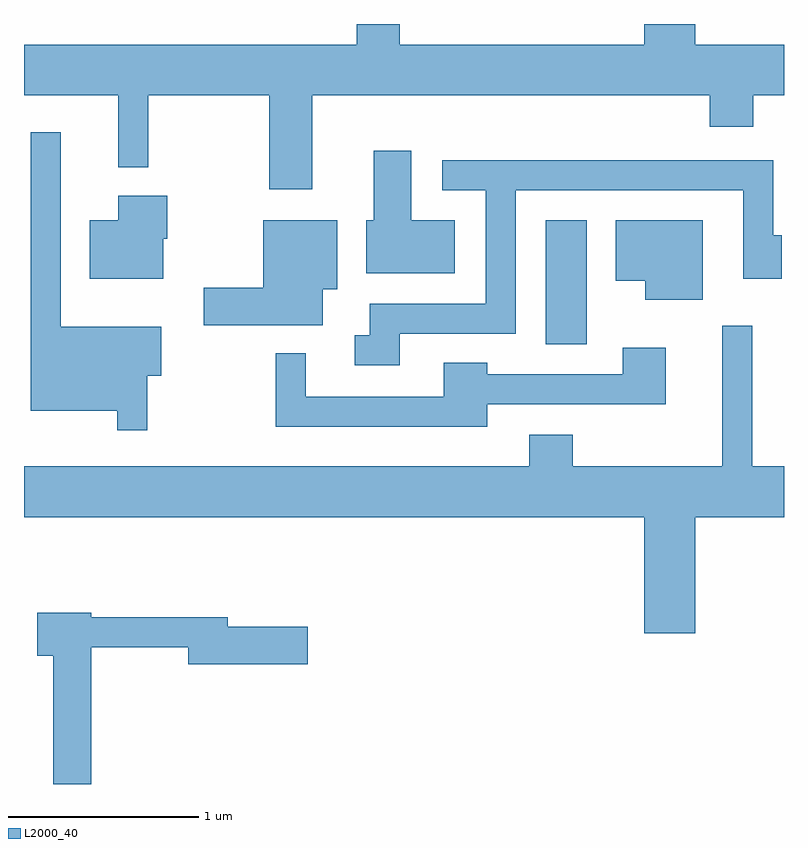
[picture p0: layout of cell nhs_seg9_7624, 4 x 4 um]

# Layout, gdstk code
import gdstk
lib = gdstk.Library(unit=1e-6, precision=1e-09)
def R(c, l, rs):  # rectangles x0, y0, x1, y1
    for r in rs: c.add(gdstk.rectangle(r[:2], r[2:], *l))
def P(c, l, *ps):  # polygons
    for p in ps: c.add(gdstk.Polygon(p, *l))
L2000_40 = (2000, 40)

nhs_seg9_7624 = lib.new_cell('nhs_seg9_7624')
R(nhs_seg9_7624, L2000_40, [(414.356,1972.746,414.574,1973.399)])
P(nhs_seg9_7624, L2000_40, [(411.611,1974.056),(412.106,1974.056),(412.106,1973.678),(412.264,1973.678),(412.264,1974.056),(412.901,1974.056),(412.901,1973.561),(413.129,1973.561),(413.129,1974.056),(415.221,1974.056),(415.221,1973.891),(415.449,1973.891),(415.449,1974.056),(415.611,1974.056),(415.611,1974.324),(415.144,1974.324),(415.144,1974.432),(414.876,1974.432),(414.876,1974.324),(413.589,1974.324),(413.589,1974.432),(413.361,1974.432),(413.361,1974.324),(411.611,1974.324)],
  [(412.259,1972.581),(412.334,1972.581),(412.334,1972.839),(411.804,1972.839),(411.804,1973.863),(411.646,1973.863),(411.646,1972.396),(412.101,1972.396),(412.101,1972.293),(412.259,1972.293)],
  [(413.879,1973.399),(413.649,1973.399),(413.649,1973.764),(413.451,1973.764),(413.451,1973.399),(413.411,1973.399),(413.411,1973.121),(413.879,1973.121)],
  [(413.589,1972.801),(414.199,1972.801),(414.199,1973.556),(415.396,1973.556),(415.396,1973.091),(415.599,1973.091),(415.599,1973.319),(415.554,1973.319),(415.554,1973.714),(413.813,1973.714),(413.813,1973.556),(414.041,1973.556),(414.041,1972.959),(413.431,1972.959),(413.431,1972.794),(413.353,1972.794),(413.353,1972.636),(413.589,1972.636)],
  [(412.344,1973.301),(412.364,1973.301),(412.364,1973.529),(412.106,1973.529),(412.106,1973.399),(411.956,1973.399),(411.956,1973.091),(412.344,1973.091)],
  [(415.184,1973.399),(414.726,1973.399),(414.726,1973.081),(414.881,1973.081),(414.881,1972.981),(415.184,1972.981)],
  [(413.184,1973.036),(413.259,1973.036),(413.259,1973.399),(412.871,1973.399),(412.871,1973.044),(412.556,1973.044),(412.556,1972.846),(413.184,1972.846)],
  [(415.144,1971.836),(415.611,1971.836),(415.611,1972.104),(415.444,1972.104),(415.444,1972.843),(415.286,1972.843),(415.286,1972.104),(414.499,1972.104),(414.499,1972.269),(414.271,1972.269),(414.271,1972.104),(411.611,1972.104),(411.611,1971.836),(414.876,1971.836),(414.876,1971.226),(415.144,1971.226)],
  [(414.049,1972.431),(414.989,1972.431),(414.989,1972.729),(414.761,1972.729),(414.761,1972.589),(414.049,1972.589),(414.049,1972.649),(413.821,1972.649),(413.821,1972.469),(413.094,1972.469),(413.094,1972.698),(412.936,1972.698),(412.936,1972.311),(414.049,1972.311)],
  [(411.964,1971.151),(412.476,1971.151),(412.476,1971.061),(413.104,1971.061),(413.104,1971.259),(412.684,1971.259),(412.684,1971.309),(411.964,1971.309),(411.964,1971.334),(411.681,1971.334),(411.681,1971.106),(411.766,1971.106),(411.766,1970.432),(411.964,1970.432)])

lib.write_gds('nhs_seg9_7624.gds')
